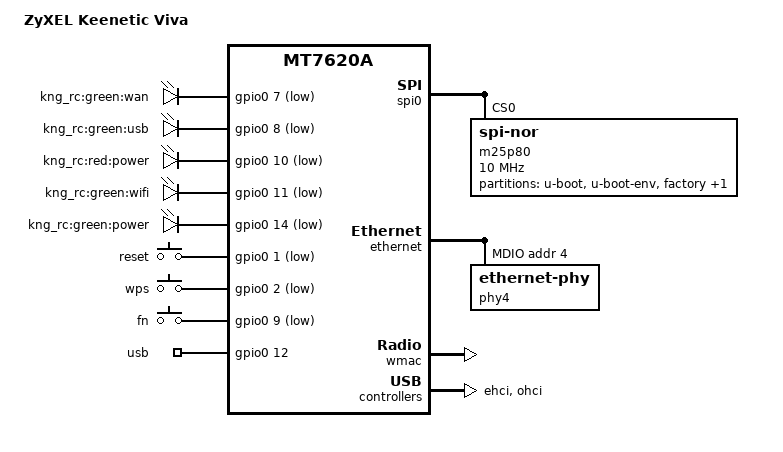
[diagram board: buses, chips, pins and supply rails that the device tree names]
/dts-v1/;

#include "mt7620a.dtsi"

#include <dt-bindings/gpio/gpio.h>
#include <dt-bindings/input/input.h>

/ {
	compatible = "zyxel,keenetic-viva", "ralink,mt7620a-soc";
	model = "ZyXEL Keenetic Viva";

	aliases {
		led-boot = &led_power_green;
		led-failsafe = &led_power_green;
		led-running = &led_power_green;
		led-upgrade = &led_power_green;
	};

	gpio-leds {
		compatible = "gpio-leds";

		wan {
			label = "kng_rc:green:wan";
			gpios = <&gpio0 7 GPIO_ACTIVE_LOW>;
		};

		usb {
			label = "kng_rc:green:usb";
			gpios = <&gpio0 8 GPIO_ACTIVE_LOW>;
			trigger-sources = <&ohci_port1>, <&ehci_port1>;
			linux,default-trigger = "usbport";
		};

		power_alert {
			label = "kng_rc:red:power";
			gpios = <&gpio0 10 GPIO_ACTIVE_LOW>;
		};

		wifi {
			label = "kng_rc:green:wifi";
			gpios = <&gpio0 11 GPIO_ACTIVE_LOW>;
		};

		led_power_green: power {
			label = "kng_rc:green:power";
			gpios = <&gpio0 14 GPIO_ACTIVE_LOW>;
		};
	};

	gpio-keys-polled {
		compatible = "gpio-keys";
		poll-interval = <20>;

		reset {
			label = "reset";
			gpios = <&gpio0 1 GPIO_ACTIVE_LOW>;
			linux,code = <KEY_RESTART>;
		};

		wps {
			label = "wps";
			gpios = <&gpio0 2 GPIO_ACTIVE_LOW>;
			linux,code = <KEY_WPS_BUTTON>;
		};

		fn {
			label = "fn";
			gpios = <&gpio0 9 GPIO_ACTIVE_LOW>;
			linux,code = <BTN_0>;
		};
	};

	gpio_export {
		compatible = "gpio-export";
		#size-cells = <0>;

		usb_power {
			gpio-export,name = "usb";
			gpio-export,output = <1>;
			gpios = <&gpio0 12 GPIO_ACTIVE_HIGH>;
		};
	};

	rtl8367rb {
		compatible = "realtek,rtl8367b";
		cpu_port = <7>;
		realtek,extif2 = <1 0 1 1 1 1 1 1 2>;
		mii-bus = <&mdio0>;
	};
};

&spi0 {
	status = "okay";

	m25p80@0 {
		compatible = "jedec,spi-nor";
		reg = <0>;
		spi-max-frequency = <10000000>;

		partitions {
			compatible = "fixed-partitions";
			#address-cells = <1>;
			#size-cells = <1>;

			partition@0 {
				label = "u-boot";
				reg = <0x0 0x30000>;
				read-only;
			};

			partition@30000 {
				label = "u-boot-env";
				reg = <0x30000 0x10000>;
				read-only;
			};

			factory: partition@40000 {
				label = "factory";
				reg = <0x40000 0x10000>;
				read-only;
			};

			partition@50000 {
				label = "firmware";
				reg = <0x50000 0xfb0000>;
			};
		};
	};
};

&pinctrl {
	state_default: pinctrl0 {
		gpio {
			ralink,group = "i2c", "uartf";
			ralink,function = "gpio";
		};
	};
};

&ethernet {
	status = "okay";
	pinctrl-names = "default";
	pinctrl-0 = <&rgmii2_pins &mdio_pins>;
	mtd-mac-address = <&factory 0x00004>;

	port@4 {
		status = "okay";
		mediatek,fixed-link = <1000 1 1 1>;
		phy-mode = "rgmii";
		phy-handle = <&phy4>;
	};

	mdio0: mdio-bus {
		status = "okay";

		phy4: ethernet-phy@4 {
			reg = <4>;
			phy-mode = "rgmii";
		};
	};
};

&gsw {
	mediatek,port4 = "gmac";
};

&wmac {
	ralink,mtd-eeprom = <&factory 0>;
};

&ehci {
	status = "okay";
};

&ohci {
	status = "okay";
};
